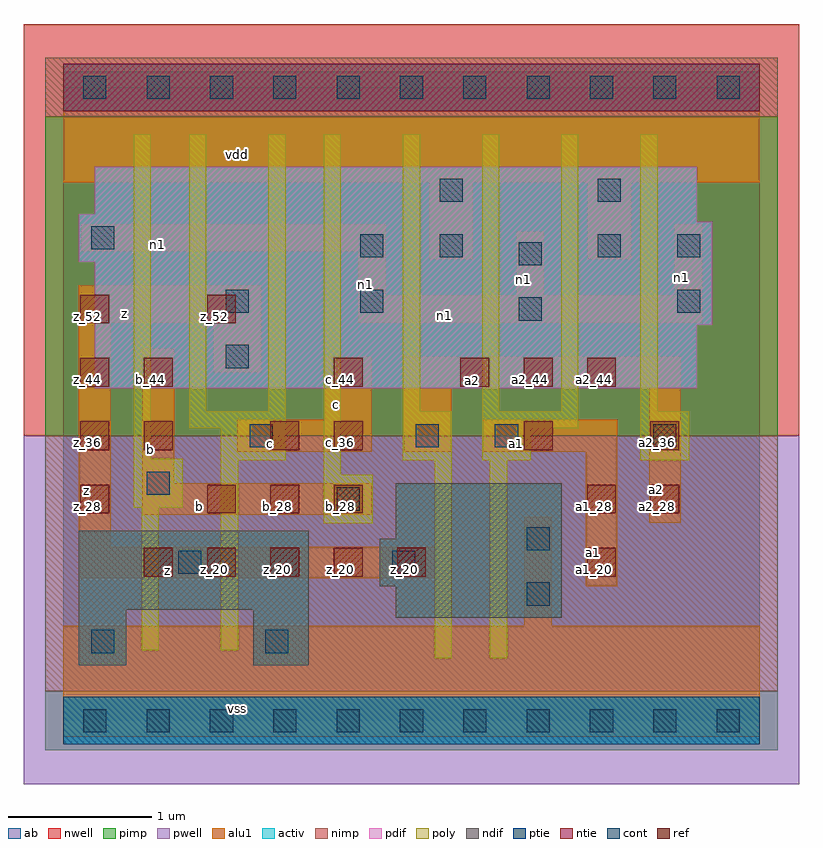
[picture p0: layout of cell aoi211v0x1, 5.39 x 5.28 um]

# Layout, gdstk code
import gdstk
lib = gdstk.Library(unit=1e-6, precision=2.5e-09)
def R(c, l, rs):  # rectangles x0, y0, x1, y1
    for r in rs: c.add(gdstk.rectangle(r[:2], r[2:], *l))
def A(c, l, x, y, w, h, nx, ny, dx, dy):  # array of equal rectangles
    R(c, l, [(x+i*dx, y+j*dy, x+i*dx+w, y+j*dy+h) for i in range(nx) for j in range(ny)])
ndif = (3, 0)
pdif = (4, 0)
ntie = (5, 0)
ptie = (6, 0)
ref = (24, 0)
cont = (25, 0)
pwell = (41, 0)
nwell = (42, 0)
activ = (43, 0)
pimp = (44, 0)
nimp = (45, 0)
poly = (46, 0)
alu1 = (49, 0)
ab = (63, 0)

aoi211v0x1 = lib.new_cell('aoi211v0x1')
R(aoi211v0x1, ndif, [(0.11,0.385,0.44,0.77), (1.32,0.385,1.705,0.77), (2.31,0.715,3.465,0.935), (0.11,0.77,1.705,1.32), (2.2,0.935,3.465,1.265), (2.31,1.265,3.465,1.65)])
R(aoi211v0x1, pdif, [(0.22,2.31,4.4,2.75), (0.22,2.75,4.51,3.19), (0.11,3.19,4.51,3.465), (0.11,3.465,4.4,3.52), (0.22,3.52,4.4,3.85)])
R(aoi211v0x1, ntie, [(0,4.235,4.84,4.565)])
R(aoi211v0x1, ptie, [(0,-0.165,4.84,0.165)])
A(aoi211v0x1, ref, 0.56, 1, 0.2, 0.2, 5, 1, 0.44, 0)
A(aoi211v0x1, ref, 0.12, 1.44, 0.2, 0.2, 1, 4, 0, 0.44)
A(aoi211v0x1, ref, 1, 1.44, 0.2, 0.2, 3, 1, 0.44, 0)
A(aoi211v0x1, ref, 2.76, 2.32, 0.2, 0.2, 3, 1, 0.44, 0)
R(aoi211v0x1, ref, [(3.64,1,3.84,1.2), (3.64,1.44,3.84,1.64), (4.08,1.44,4.28,1.64), (0.56,1.88,0.76,2.08), (1.44,1.88,1.64,2.08), (1.88,1.88,2.08,2.08), (3.2,1.88,3.4,2.08), (4.08,1.88,4.28,2.08), (0.56,2.32,0.76,2.52), (1.88,2.32,2.08,2.52), (1,2.76,1.2,2.96)])
A(aoi211v0x1, cont, 0.14, -0.08, 0.16, 0.16, 11, 2, 0.44, 4.4)
R(aoi211v0x1, cont, [(0.195,0.47,0.355,0.63), (1.405,0.47,1.565,0.63), (3.22,0.8,3.38,0.96), (0.8,1.02,0.96,1.18), (2.285,1.02,2.445,1.18), (3.22,1.185,3.38,1.345), (1.9,1.46,2.06,1.62), (0.58,1.57,0.74,1.73), (1.295,1.9,1.455,2.06), (2.45,1.9,2.61,2.06), (3,1.9,3.16,2.06), (4.1,1.9,4.26,2.06), (1.13,2.45,1.29,2.61), (3.165,2.78,3.325,2.94), (1.13,2.835,1.29,2.995), (2.065,2.835,2.225,2.995), (4.265,2.835,4.425,2.995), (3.165,3.165,3.325,3.325), (2.065,3.22,2.225,3.38), (2.615,3.22,2.775,3.38), (3.715,3.22,3.875,3.38), (4.265,3.22,4.425,3.38), (0.195,3.275,0.355,3.435), (2.615,3.605,2.775,3.765), (3.715,3.605,3.875,3.765)])
R(aoi211v0x1, pwell, [(-0.275,-0.44,5.115,1.98)])
R(aoi211v0x1, nwell, [(-0.275,1.98,5.115,4.84)])
R(aoi211v0x1, activ, [(0,-0.165,4.84,0.165), (0.11,0.385,0.44,0.77), (1.32,0.385,1.705,0.77), (2.31,0.715,3.465,0.935), (0.11,0.77,1.705,1.32), (2.2,0.935,3.465,1.265), (2.31,1.265,3.465,1.65), (0.22,2.31,4.4,2.75), (0.22,2.75,4.51,3.19), (0.11,3.19,4.51,3.465), (0.11,3.465,4.4,3.52), (0.22,3.52,4.4,3.85), (0,4.235,4.84,4.565)])
R(aoi211v0x1, pimp, [(-0.125,-0.205,4.965,0.205), (-0.125,1.98,4.965,4.195)])
R(aoi211v0x1, nimp, [(-0.125,0.205,4.965,1.98), (-0.125,4.195,4.965,4.605)])
A(aoi211v0x1, poly, 2.36, 2.15, 0.12, 1.925, 4, 1, 0.55, 0)
R(aoi211v0x1, poly, [(2.58,0.435,2.7,1.81), (2.965,0.435,3.085,1.81), (0.545,0.49,0.665,1.48), (1.095,0.49,1.215,1.81), (1.81,1.37,2.15,1.71), (0.49,1.48,0.83,1.82), (1.81,1.71,1.93,4.075), (1.095,1.81,1.545,2.03), (2.36,1.81,2.7,2.15), (2.91,1.81,3.25,2.03), (4.01,1.81,4.35,2.15), (0.49,1.82,0.61,4.075), (0.875,2.03,1.545,2.15), (2.91,2.03,3.58,2.15), (0.875,2.15,0.995,4.075), (1.425,2.15,1.545,4.075)])
R(aoi211v0x1, alu1, [(0,-0.11,4.84,0.66), (3.205,0.66,3.395,1.415), (3.63,0.935,3.85,1.87), (0.11,0.99,2.585,1.21), (0.11,1.21,0.33,2.765), (4.07,1.375,4.29,2.31), (0.55,1.43,2.145,1.65), (0.55,1.65,0.77,2.585), (1.21,1.87,2.145,2.09), (2.365,1.87,2.695,2.31), (2.915,1.87,3.85,2.09), (1.815,2.09,2.145,2.53), (2.365,2.31,4.29,2.53), (1.045,2.42,1.375,2.75), (0.99,2.75,1.375,2.765), (0.11,2.765,1.375,3.025), (2.05,2.765,4.44,2.955), (2.05,2.955,2.24,3.26), (3.15,2.955,3.34,3.395), (4.25,2.955,4.44,3.45), (2.545,3.205,2.845,3.74), (3.645,3.205,3.945,3.74), (0.125,3.26,2.24,3.45), (0,3.74,4.84,4.51)])
R(aoi211v0x1, ab, [(0,0,4.84,4.4)])
aoi211v0x1.add(gdstk.Label('vss', (1.21,0.0825), layer=49, texttype=0))
aoi211v0x1.add(gdstk.Label('a2', (4.125,1.6075), layer=49, texttype=0))
aoi211v0x1.add(gdstk.Label('a1', (3.685,1.1675), layer=49, texttype=0))
aoi211v0x1.add(gdstk.Label('z', (0.7275,1.045), layer=49, texttype=0))
aoi211v0x1.add(gdstk.Label('b', (0.9475,1.485), layer=49, texttype=0))
aoi211v0x1.add(gdstk.Label('a1', (3.1475,1.925), layer=49, texttype=0))
aoi211v0x1.add(gdstk.Label('a2', (2.845,2.365), layer=49, texttype=0))
aoi211v0x1.add(gdstk.Label('c', (1.4425,1.925), layer=49, texttype=0))
aoi211v0x1.add(gdstk.Label('c', (1.8975,2.2), layer=49, texttype=0))
aoi211v0x1.add(gdstk.Label('b', (0.605,1.8825), layer=49, texttype=0))
aoi211v0x1.add(gdstk.Label('z', (0.165,1.5975), layer=49, texttype=0))
aoi211v0x1.add(gdstk.Label('n1', (2.6475,2.8125), layer=49, texttype=0))
aoi211v0x1.add(gdstk.Label('n1', (4.2975,3.0775), layer=49, texttype=0))
aoi211v0x1.add(gdstk.Label('n1', (3.1975,3.065), layer=49, texttype=0))
aoi211v0x1.add(gdstk.Label('n1', (2.0975,3.03), layer=49, texttype=0))
aoi211v0x1.add(gdstk.Label('z', (0.425,2.83), layer=49, texttype=0))
aoi211v0x1.add(gdstk.Label('n1', (0.6525,3.3075), layer=49, texttype=0))
aoi211v0x1.add(gdstk.Label('vdd', (1.21,3.9325), layer=49, texttype=0))
aoi211v0x1.add(gdstk.Label('z_20', (0.61,1.05), layer=24, texttype=0))
aoi211v0x1.add(gdstk.Label('b_36', (0.61,1.93), layer=24, texttype=0))
aoi211v0x1.add(gdstk.Label('b_44', (0.61,2.37), layer=24, texttype=0))
aoi211v0x1.add(gdstk.Label('z_20', (1.05,1.05), layer=24, texttype=0))
aoi211v0x1.add(gdstk.Label('b_28', (1.05,1.49), layer=24, texttype=0))
aoi211v0x1.add(gdstk.Label('z_52', (1.05,2.81), layer=24, texttype=0))
aoi211v0x1.add(gdstk.Label('z_20', (1.49,1.05), layer=24, texttype=0))
aoi211v0x1.add(gdstk.Label('b_28', (1.49,1.49), layer=24, texttype=0))
aoi211v0x1.add(gdstk.Label('c_36', (1.49,1.93), layer=24, texttype=0))
aoi211v0x1.add(gdstk.Label('z_20', (1.93,1.05), layer=24, texttype=0))
aoi211v0x1.add(gdstk.Label('b_28', (1.93,1.49), layer=24, texttype=0))
aoi211v0x1.add(gdstk.Label('c_36', (1.93,1.93), layer=24, texttype=0))
aoi211v0x1.add(gdstk.Label('c_44', (1.93,2.37), layer=24, texttype=0))
aoi211v0x1.add(gdstk.Label('z_28', (0.17,1.49), layer=24, texttype=0))
aoi211v0x1.add(gdstk.Label('z_36', (0.17,1.93), layer=24, texttype=0))
aoi211v0x1.add(gdstk.Label('z_44', (0.17,2.37), layer=24, texttype=0))
aoi211v0x1.add(gdstk.Label('z_52', (0.17,2.81), layer=24, texttype=0))
aoi211v0x1.add(gdstk.Label('z_20', (2.37,1.05), layer=24, texttype=0))
aoi211v0x1.add(gdstk.Label('a2_44', (2.81,2.37), layer=24, texttype=0))
aoi211v0x1.add(gdstk.Label('a1_36', (3.25,1.93), layer=24, texttype=0))
aoi211v0x1.add(gdstk.Label('a2_44', (3.25,2.37), layer=24, texttype=0))
aoi211v0x1.add(gdstk.Label('a1_20', (3.69,1.05), layer=24, texttype=0))
aoi211v0x1.add(gdstk.Label('a1_28', (3.69,1.49), layer=24, texttype=0))
aoi211v0x1.add(gdstk.Label('a2_44', (3.69,2.37), layer=24, texttype=0))
aoi211v0x1.add(gdstk.Label('a2_28', (4.13,1.49), layer=24, texttype=0))
aoi211v0x1.add(gdstk.Label('a2_36', (4.13,1.93), layer=24, texttype=0))

lib.write_gds('aoi211v0x1.gds')
